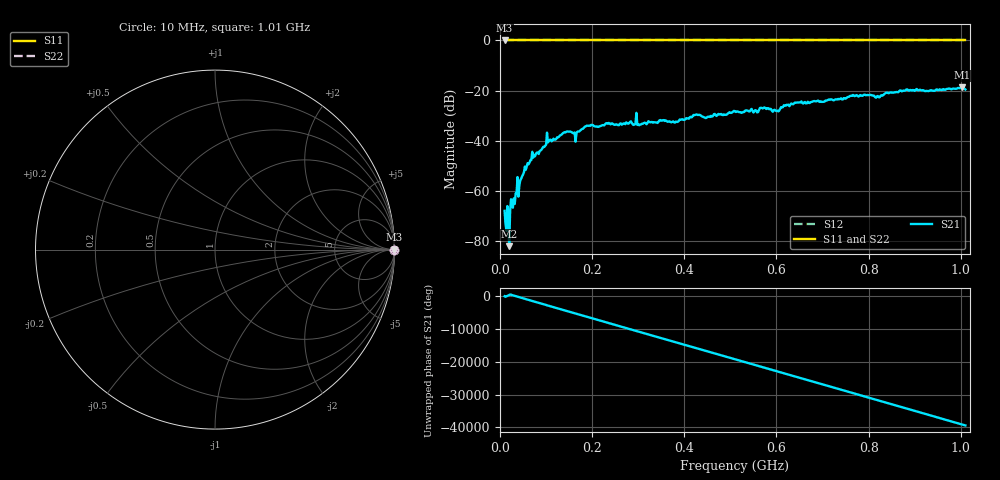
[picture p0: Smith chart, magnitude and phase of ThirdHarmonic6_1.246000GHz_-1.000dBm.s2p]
! 8/16/2025 1:17:06 PM
! C:\ANRITSUVNA\TEMP\TEMP.S2P
! CHANNEL.1
! TR.MEASUREMENT
! RAW.DATA
! RF.CORRECTION.OFF
! AVERAGING.OFF
! IF.BANDWIDTH: 5KHZ
! SWEEPTYPE:  FREQ.SWEEP(Linear)
! Reference Plane Port Info
! PORT:  PORT1  PORT2
! DISTANCE:  0  m  0  m
! TIME:  0  s  0  s
! PHASE.OFFSET:  0  deg.  0  deg.
! LOSS:  0  dB  0  dB
! REF.LOSS:  0  dB  0  dB
! REF.FREQ:  0  Hz  0  Hz
! Power Info
! POWER:  -20  dBm  -20  dBm
! EFF.POWER:  -20  dBm  -20  dBm
! SOURCE.ATTEN:  0  dB  0  dB
! TEST.ATTEN:  0  dB  0  dB
# GHZ S RI R 50.0
! FREQ.GHZ  S11RE  S11IM  S21RE  S21IM  S12RE  S12IM  S22RE  S22IM
!; PortSelection: Port_12
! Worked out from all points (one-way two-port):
!   501 points, 10 MHz to 1.01 GHz, reference 50 ohm
!   highest |S21| = -18.76 dB at 1.002 GHz (marker M1); lowest = -82.1 dB at 20 MHz (marker M2)
!   lowest |S11| = 0.0 dB at 10 MHz (marker M3)
!   |S11| at or under -10 dB: nowhere
!   |S22| runs from 0.0 to 0.0 dB; largest |S21 - S12| = 1.1
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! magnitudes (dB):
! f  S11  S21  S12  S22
! 10 MHz  0.0  -68.0  0.0  0.0
! 14 MHz  0.0  -75.9  0.0  0.0
! 16 MHz  0.0  -66.1  0.0  0.0
! 20 MHz  0.0  -82.1  0.0  0.0
! 24 MHz  0.0  -63.4  0.0  0.0
! 26 MHz  0.0  -64.1  0.0  0.0
! 32 MHz  0.0  -65.2  0.0  0.0
! 50 MHz  0.0  -53.5  0.0  0.0
! 70 MHz  0.0  -44.4  0.0  0.0
! 106 MHz  0.0  -40.1  0.0  0.0
! 144 MHz  0.0  -36.4  0.0  0.0
! 164 MHz  0.0  -40.4  0.0  0.0
! 178 MHz  0.0  -35.3  0.0  0.0
! 234 MHz  0.0  -33.2  0.0  0.0
! 344 MHz  0.0  -32.4  0.0  0.0
! 510 MHz  0.0  -28.3  0.0  0.0
! 602 MHz  0.0  -28.0  0.0  0.0
! 620 MHz  0.0  -26.0  0.0  0.0
! 678 MHz  0.0  -24.4  0.0  0.0
! 844 MHz  0.0  -21.0  0.0  0.0
! 1.002 GHz  0.0  -18.8  0.0  0.0
! 1.01 GHz  0.0  -19.6  0.0  0.0
